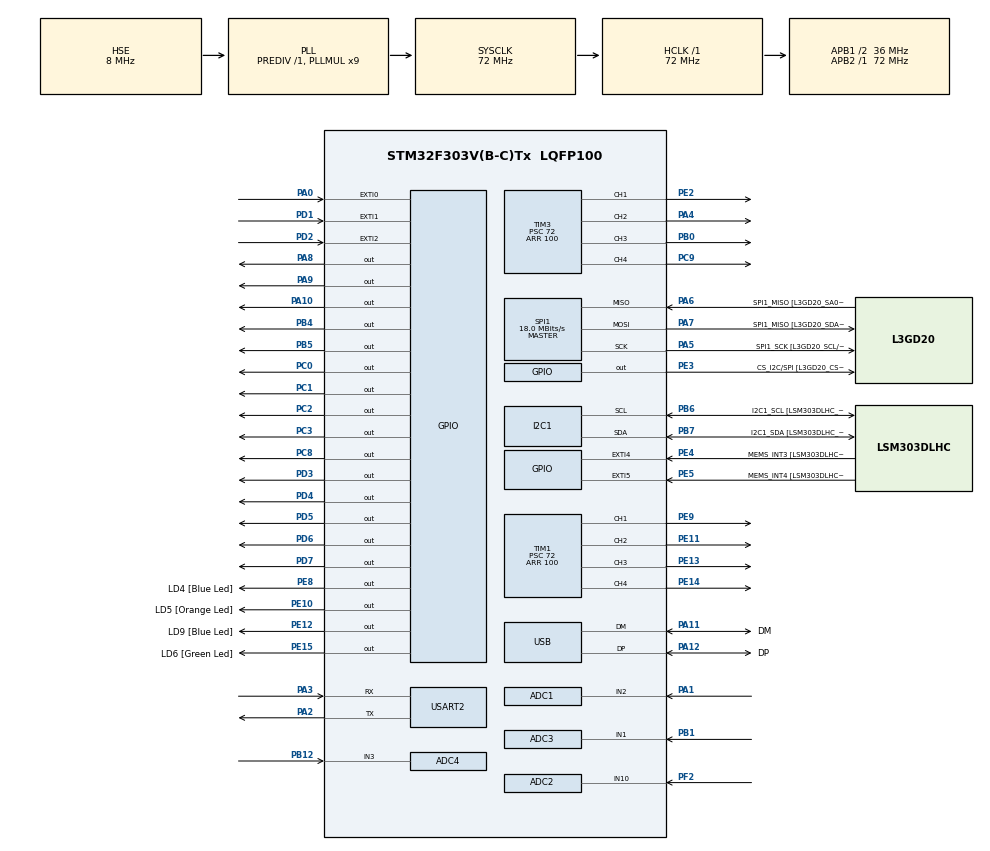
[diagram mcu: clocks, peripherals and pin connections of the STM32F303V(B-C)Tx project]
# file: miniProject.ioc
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ADC1.Channel-12\#ChannelRegularConversion=ADC_CHANNEL_2
ADC1.ClockPrescaler=ADC_CLOCK_ASYNC_DIV1
ADC1.ContinuousConvMode=DISABLE
ADC1.DMAContinuousRequests=DISABLE
ADC1.DataAlign=ADC_DATAALIGN_RIGHT
ADC1.DiscontinuousConvMode=DISABLE
ADC1.EOCSelection=ADC_EOC_SINGLE_CONV
ADC1.EnableAnalogWatchDog1=false
ADC1.EnableAnalogWatchDog2=false
ADC1.EnableAnalogWatchDog3=false
ADC1.EnableInjectedConversion=ENABLE
ADC1.EnableRegularConversion=ENABLE
ADC1.ExternalTrigConv=ADC_SOFTWARE_START
ADC1.ExternalTrigConvEdge=ADC_EXTERNALTRIGCONVEDGE_NONE
ADC1.InjNumberOfConversion=0
ADC1.LowPowerAutoWait=DISABLE
ADC1.NbrOfConversion=1
ADC1.NbrOfConversionFlag=1
ADC1.Offset-12\#ChannelRegularConversion=0
ADC1.OffsetNumber-12\#ChannelRegularConversion=ADC_OFFSET_NONE
ADC1.Overrun=ADC_OVR_DATA_OVERWRITTEN
ADC1.Rank-12\#ChannelRegularConversion=1
ADC1.Resolution=ADC_RESOLUTION_12B
ADC1.SamplingTime-12\#ChannelRegularConversion=ADC_SAMPLETIME_601CYCLES_5
ADC1.ScanConvMode=ADC_SCAN_DISABLE
ADC1.master=1
ADC2.Channel-113\#ChannelRegularConversion=ADC_CHANNEL_10
ADC2.ClockPrescaler=ADC_CLOCK_ASYNC_DIV1
ADC2.ContinuousConvMode=DISABLE
ADC2.DMAContinuousRequests=DISABLE
ADC2.DataAlign=ADC_DATAALIGN_RIGHT
ADC2.DiscontinuousConvMode=DISABLE
ADC2.EOCSelection=ADC_EOC_SINGLE_CONV
ADC2.EnableAnalogWatchDog1=false
ADC2.EnableAnalogWatchDog2=false
ADC2.EnableAnalogWatchDog3=false
ADC2.EnableInjectedConversion=ENABLE
ADC2.EnableRegularConversion=ENABLE
ADC2.ExternalTrigConv=ADC_SOFTWARE_START
ADC2.ExternalTrigConvEdge=ADC_EXTERNALTRIGCONVEDGE_NONE
ADC2.InjNumberOfConversion=0
ADC2.LowPowerAutoWait=DISABLE
ADC2.NbrOfConversion=1
ADC2.NbrOfConversionFlag=1
ADC2.Offset-113\#ChannelRegularConversion=0
ADC2.OffsetNumber-113\#ChannelRegularConversion=ADC_OFFSET_NONE
ADC2.Overrun=ADC_OVR_DATA_OVERWRITTEN
ADC2.Rank-113\#ChannelRegularConversion=1
ADC2.Resolution=ADC_RESOLUTION_12B
ADC2.SamplingTime-113\#ChannelRegularConversion=ADC_SAMPLETIME_601CYCLES_5
ADC2.ScanConvMode=ADC_SCAN_DISABLE
ADC3.Channel-129\#ChannelRegularConversion=ADC_CHANNEL_1
ADC3.ClockPrescaler=ADC_CLOCK_ASYNC_DIV1
ADC3.ContinuousConvMode=DISABLE
ADC3.DMAContinuousRequests=DISABLE
ADC3.DataAlign=ADC_DATAALIGN_RIGHT
ADC3.DiscontinuousConvMode=DISABLE
ADC3.EOCSelection=ADC_EOC_SINGLE_CONV
ADC3.EnableAnalogWatchDog1=false
ADC3.EnableAnalogWatchDog2=false
ADC3.EnableAnalogWatchDog3=false
ADC3.EnableInjectedConversion=ENABLE
ADC3.EnableRegularConversion=ENABLE
ADC3.ExternalTrigConv=ADC_SOFTWARE_START
ADC3.ExternalTrigConvEdge=ADC_EXTERNALTRIGCONVEDGE_NONE
ADC3.InjNumberOfConversion=0
ADC3.LowPowerAutoWait=DISABLE
ADC3.NbrOfConversion=1
ADC3.NbrOfConversionFlag=1
ADC3.Offset-129\#ChannelRegularConversion=0
ADC3.OffsetNumber-129\#ChannelRegularConversion=ADC_OFFSET_NONE
ADC3.Overrun=ADC_OVR_DATA_OVERWRITTEN
ADC3.Rank-129\#ChannelRegularConversion=1
ADC3.Resolution=ADC_RESOLUTION_12B
ADC3.SamplingTime-129\#ChannelRegularConversion=ADC_SAMPLETIME_601CYCLES_5
ADC3.ScanConvMode=ADC_SCAN_DISABLE
ADC3.master=1
ADC4.Channel-0\#ChannelRegularConversion=ADC_CHANNEL_3
ADC4.ClockPrescaler=ADC_CLOCK_ASYNC_DIV1
ADC4.ContinuousConvMode=DISABLE
ADC4.DMAContinuousRequests=DISABLE
ADC4.DataAlign=ADC_DATAALIGN_RIGHT
ADC4.DiscontinuousConvMode=DISABLE
ADC4.EOCSelection=ADC_EOC_SINGLE_CONV
ADC4.EnableAnalogWatchDog1=false
ADC4.EnableAnalogWatchDog2=false
ADC4.EnableAnalogWatchDog3=false
ADC4.EnableInjectedConversion=ENABLE
ADC4.EnableRegularConversion=ENABLE
ADC4.ExternalTrigConv=ADC_SOFTWARE_START
ADC4.ExternalTrigConvEdge=ADC_EXTERNALTRIGCONVEDGE_NONE
ADC4.InjNumberOfConversion=0
ADC4.LowPowerAutoWait=DISABLE
ADC4.NbrOfConversion=1
ADC4.NbrOfConversionFlag=1
ADC4.Offset-0\#ChannelRegularConversion=0
ADC4.OffsetNumber-0\#ChannelRegularConversion=ADC_OFFSET_NONE
ADC4.Overrun=ADC_OVR_DATA_OVERWRITTEN
ADC4.Rank-0\#ChannelRegularConversion=1
ADC4.Resolution=ADC_RESOLUTION_12B
ADC4.SamplingTime-0\#ChannelRegularConversion=ADC_SAMPLETIME_601CYCLES_5
ADC4.ScanConvMode=ADC_SCAN_DISABLE
I2C1.Timing-I2C=0x2000090E
Mcu.Family=STM32F3
Mcu.Name=STM32F303V(B-C)Tx
Mcu.Package=LQFP100
NVIC.ADC1_2_IRQn=true\:2\:0\:true\:false\:true\:true
NVIC.ADC3_IRQn=true\:2\:0\:true\:false\:true\:true
NVIC.ADC4_IRQn=true\:2\:0\:true\:false\:true\:true
NVIC.EXTI0_IRQn=true\:1\:0\:true\:false\:true\:true
NVIC.EXTI1_IRQn=true\:1\:0\:true\:false\:true\:true
NVIC.EXTI2_TSC_IRQn=true\:1\:0\:true\:false\:true\:true
NVIC.PriorityGroup=NVIC_PRIORITYGROUP_2
NVIC.TIM2_IRQn=true\:1\:0\:true\:false\:true\:true
NVIC.TIM4_IRQn=true\:1\:0\:true\:false\:true\:true
NVIC.USART2_IRQn=true\:1\:0\:true\:false\:true\:true
PA0.GPIO_PuPd=GPIO_PULLDOWN
PA0.Signal=GPXTI0
PA1.Mode=IN2-Single-Ended
PA1.Signal=ADC1_IN2
PA10.Signal=GPIO_Output
PA11.GPIO_Label=DM
PA11.Mode=Device
PA11.Signal=USB_DM
PA12.GPIO_Label=DP
PA12.Mode=Device
PA12.Signal=USB_DP
PA13.GPIO_Label=SWDIO
PA13.Mode=Serial_Wire
PA13.Signal=SYS_JTMS-SWDIO
PA14.GPIO_Label=SWCLK
PA14.Mode=Serial_Wire
PA14.Signal=SYS_JTCK-SWCLK
PA2.Mode=Asynchronous
PA2.Signal=USART2_TX
PA3.Mode=Asynchronous
PA3.Signal=USART2_RX
PA4.Signal=S_TIM3_CH2
PA5.GPIO_Label=SPI1_SCK [L3GD20_SCL/SPC]
PA5.Mode=Full_Duplex_Master
PA5.Signal=SPI1_SCK
PA6.GPIO_Label=SPI1_MISO [L3GD20_SA0/SDO]
PA6.Mode=Full_Duplex_Master
PA6.Signal=SPI1_MISO
PA7.GPIO_Label=SPI1_MISO [L3GD20_SDA/SDI/SDO]
PA7.Mode=Full_Duplex_Master
PA7.Signal=SPI1_MOSI
PA8.Signal=GPIO_Output
PA9.Signal=GPIO_Output
PB0.Signal=S_TIM3_CH3
PB1.Mode=IN1-Single-Ended
PB1.Signal=ADC3_IN1
PB12.Mode=IN3-Single-Ended
PB12.Signal=ADC4_IN3
PB3.GPIO_Label=SWO
PB3.Signal=SYS_JTDO-TRACESWO
PB4.Signal=GPIO_Output
PB5.Signal=GPIO_Output
PB6.GPIO_Label=I2C1_SCL [LSM303DLHC_SCL]
PB6.Mode=I2C
PB6.Signal=I2C1_SCL
PB7.GPIO_Label=I2C1_SDA [LSM303DLHC_SDA]
PB7.Mode=I2C
PB7.Signal=I2C1_SDA
PC0.Signal=GPIO_Output
PC1.Signal=GPIO_Output
PC14-OSC32_IN.GPIO_Label=OSC32_IN
PC14-OSC32_IN.Signal=RCC_OSC32_IN
PC15-OSC32_OUT.GPIO_Label=OSC32_OUT
PC15-OSC32_OUT.Signal=RCC_OSC32_OUT
PC2.Signal=GPIO_Output
PC3.Signal=GPIO_Output
PC8.Signal=GPIO_Output
PC9.Signal=S_TIM3_CH4
PD1.GPIO_PuPd=GPIO_PULLDOWN
PD1.Signal=GPXTI1
PD2.GPIO_PuPd=GPIO_PULLDOWN
PD2.Signal=GPXTI2
PD3.Signal=GPIO_Output
PD4.Signal=GPIO_Output
PD5.Signal=GPIO_Output
PD6.Signal=GPIO_Output
PD7.Signal=GPIO_Output
PE10.GPIO_Label=LD5 [Orange Led]
PE10.Signal=GPIO_Output
PE11.Signal=S_TIM1_CH2
PE12.GPIO_Label=LD9 [Blue Led]
PE12.Signal=GPIO_Output
PE13.Signal=S_TIM1_CH3
PE14.Signal=S_TIM1_CH4
PE15.GPIO_Label=LD6 [Green Led]
PE15.Signal=GPIO_Output
PE2.Signal=S_TIM3_CH1
PE3.GPIO_Label=CS_I2C/SPI [L3GD20_CS_I2C/SPI]
PE3.Signal=GPIO_Output
PE4.GPIO_Label=MEMS_INT3 [LSM303DLHC_INT1]
PE4.GPIO_ModeDefaultEXTI=GPIO_MODE_EVT_RISING
PE4.Signal=GPXTI4
PE5.GPIO_Label=MEMS_INT4 [LSM303DLHC_INT2]
PE5.GPIO_ModeDefaultEXTI=GPIO_MODE_EVT_RISING
PE5.Signal=GPXTI5
PE8.GPIO_Label=LD4 [Blue Led]
PE8.Signal=GPIO_Output
PE9.Signal=S_TIM1_CH1
PF0-OSC_IN.GPIO_Label=OSC_IN
PF0-OSC_IN.Mode=HSE-External-Clock-Source
PF0-OSC_IN.Signal=RCC_OSC_IN
PF1-OSC_OUT.GPIO_Label=OSC_OUT
PF1-OSC_OUT.Signal=RCC_OSC_OUT
PF2.Signal=ADCx_IN10
ProjectManager.HeapSize=0x200
ProjectManager.StackSize=0x400
ProjectManager.TargetToolchain=MDK-ARM V5
RCC.AHBFreq_Value=72000000
RCC.APB1CLKDivider=RCC_HCLK_DIV2
RCC.APB1Freq_Value=36000000
RCC.APB1TimFreq_Value=72000000
RCC.APB2Freq_Value=72000000
RCC.APB2TimFreq_Value=72000000
RCC.CortexFreq_Value=72000000
RCC.HCLKFreq_Value=72000000
RCC.HSE_VALUE=8000000
RCC.HSI_VALUE=8000000
RCC.LSE_VALUE=32768
RCC.PLLMUL=RCC_PLL_MUL9
RCC.PRESCALERUSB=RCC_USBCLKSOURCE_PLL_DIV1_5
RCC.SYSCLKFreq_VALUE=72000000
RCC.SYSCLKSourceVirtual=RCC_SYSCLKSOURCE_PLLCLK
RCC.USBFreq_Value=48000000
SH.ADCx_IN10.0=ADC2_IN10,IN10-Single-Ended
SH.S_TIM1_CH1.0=TIM1_CH1,PWM Generation1 CH1
SH.S_TIM1_CH2.0=TIM1_CH2,PWM Generation2 CH2
SH.S_TIM1_CH3.0=TIM1_CH3,PWM Generation3 CH3
SH.S_TIM1_CH4.0=TIM1_CH4,PWM Generation4 CH4
SH.S_TIM3_CH1.0=TIM3_CH1,PWM Generation1 CH1
SH.S_TIM3_CH2.0=TIM3_CH2,PWM Generation2 CH2
SH.S_TIM3_CH3.0=TIM3_CH3,PWM Generation3 CH3
SH.S_TIM3_CH4.0=TIM3_CH4,PWM Generation4 CH4
SPI1.BaudRatePrescaler=SPI_BAUDRATEPRESCALER_4
SPI1.BaudRatePrescaler-Full_Duplex_Master=SPI_BAUDRATEPRESCALER_2
SPI1.CalculateBaudRate=18.0 MBits/s
SPI1.CalculateBaudRate-Full_Duplex_Master=24.0 MBits/s
SPI1.Direction=SPI_DIRECTION_2LINES
SPI1.Mode=SPI_MODE_MASTER
SPI1.Mode-Full_Duplex_Master=SPI_MODE_MASTER
SPI1.VirtualType=VM_MASTER
TIM1.Channel-PWM\ Generation1\ CH1=TIM_CHANNEL_1
TIM1.Channel-PWM\ Generation2\ CH2=TIM_CHANNEL_2
TIM1.Channel-PWM\ Generation3\ CH3=TIM_CHANNEL_3
TIM1.Channel-PWM\ Generation4\ CH4=TIM_CHANNEL_4
TIM1.Period=100
TIM1.Prescaler=72
TIM2.Period=999
TIM2.Prescaler=3999
TIM3.Channel-PWM\ Generation1\ CH1=TIM_CHANNEL_1
TIM3.Channel-PWM\ Generation2\ CH2=TIM_CHANNEL_2
TIM3.Channel-PWM\ Generation3\ CH3=TIM_CHANNEL_3
TIM3.Channel-PWM\ Generation4\ CH4=TIM_CHANNEL_4
TIM3.Period=100
TIM3.Prescaler=72
TIM4.Period=100
TIM4.Prescaler=72
USART2.VirtualMode-Asynchronous=VM_ASYNC
VP_TIM1_VS_ClockSourceINT.Mode=Internal
VP_TIM2_VS_ClockSourceINT.Mode=Internal
VP_TIM3_VS_ClockSourceINT.Mode=Internal
VP_TIM4_VS_ClockSourceINT.Mode=Internal
board=STM32F3DISCOVERY

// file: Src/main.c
/**
  ******************************************************************************
  * @file           : main.c
  * @brief          : Main program body
  ******************************************************************************
  ** This notice applies to any and all portions of this file
  * that are not between comment pairs USER CODE BEGIN and
  * USER CODE END. Other portions of this file, whether
  * inserted by the user or by software development tools
  * are owned by their respective copyright owners.
  *
  * COPYRIGHT(c) 2019 STMicroelectronics
  *
  * Redistribution and use in source and binary forms, with or without modification,
  * are permitted provided that the following conditions are met:
  *   1. Redistributions of source code must retain the above copyright notice,
  *      this list of conditions and the following disclaimer.
  *   2. Redistributions in binary form must reproduce the above copyright notice,
  *      this list of conditions and the following disclaimer in the documentation
  *      and/or other materials provided with the distribution.
  *   3. Neither the name of STMicroelectronics nor the names of its contributors
  *      may be used to endorse or promote products derived from this software
  *      without specific prior written permission.
  *
  * THIS SOFTWARE IS PROVIDED BY THE COPYRIGHT HOLDERS AND CONTRIBUTORS "AS IS"
  * AND ANY EXPRESS OR IMPLIED WARRANTIES, INCLUDING, BUT NOT LIMITED TO, THE
  * IMPLIED WARRANTIES OF MERCHANTABILITY AND FITNESS FOR A PARTICULAR PURPOSE ARE
  * DISCLAIMED. IN NO EVENT SHALL THE COPYRIGHT HOLDER OR CONTRIBUTORS BE LIABLE
  * FOR ANY DIRECT, INDIRECT, INCIDENTAL, SPECIAL, EXEMPLARY, OR CONSEQUENTIAL
  * DAMAGES (INCLUDING, BUT NOT LIMITED TO, PROCUREMENT OF SUBSTITUTE GOODS OR
  * SERVICES; LOSS OF USE, DATA, OR PROFITS; OR BUSINESS INTERRUPTION) HOWEVER
  * CAUSED AND ON ANY THEORY OF LIABILITY, WHETHER IN CONTRACT, STRICT LIABILITY,
  * OR TORT (INCLUDING NEGLIGENCE OR OTHERWISE) ARISING IN ANY WAY OUT OF THE USE
  * OF THIS SOFTWARE, EVEN IF ADVISED OF THE POSSIBILITY OF SUCH DAMAGE.
  *
  ******************************************************************************
  */
#include "main.h"
#include "stm32f3xx_hal.h"

/* USER CODE BEGIN Includes */
#include <LiquidCrystal.h>
#include <stdbool.h>

/* USER CODE END Includes */

ADC_HandleTypeDef hadc1;
ADC_HandleTypeDef hadc2;
ADC_HandleTypeDef hadc3;
ADC_HandleTypeDef hadc4;

I2C_HandleTypeDef hi2c1;

SPI_HandleTypeDef hspi1;

TIM_HandleTypeDef htim1;
TIM_HandleTypeDef htim2;
TIM_HandleTypeDef htim3;
TIM_HandleTypeDef htim4;

UART_HandleTypeDef huart2;

PCD_HandleTypeDef hpcd_USB_FS;

/* USER CODE BEGIN PV */
/* Private variables ---------------------------------------------------------*/
/* Variables ------------------------------------------------------------------*/

const int TEMPERATURE_LIGTH_SCREEN = 0, MAIN_MENU = 1, MODE_MENU = 2, LED_MENU = 3;
bool start = false;

unsigned char buffer[1000];
unsigned char key;
unsigned char data;

int temperature = 0 , light = 0;
int counter = 0;
int row = 0;
int screen = TEMPERATURE_LIGTH_SCREEN;
int currentMenu = 1;
int menuCount = 1;
int saftyMode = 0; // 1: fire 0: safe
int volume = 0;
int PIR = 0;
int mode; // 0 ldr   1 volume
int volumeValue = 0;
int ligthValue = 0;
int firstTempture = 0;
int autoSelected = 0;

typedef unsigned char byte;
uint16_t pins[8] = {GPIO_PIN_8, GPIO_PIN_9, GPIO_PIN_10, GPIO_PIN_11, GPIO_PIN_12, GPIO_PIN_13, GPIO_PIN_14,GPIO_PIN_15};
byte noon[] = {
			0x00,
			0x00,
			0x04,
			0x01,
			0x01,
			0x1F,
			0x00,
			0x00
	};

byte va[] ={
			0x00,
			0x00,
			0x00,
			0x03,
			0x03,
			0x01,
			0x07,
			0x00
	};

byte re[] ={
		  0x00,
			0x00,
			0x00,
			0x01,
			0x01,
			0x01,
			0x07,
			0x00
	};

byte colon[]= {
			0x00,
			0x00,
			0x00,
			0x02,
			0x00,
			0x02,
			0x00,
			0x00
	};
byte dal[] = {
		0x00,
		0x00,
		0x04,
		0x02,
		0x01,
		0x02,
		0x04,
		0x00
};

byte mim[] = {
		0x00,
		0x00,
		0x00,
		0x1F,
		0x03,
		0x00,
		0x00,
		0x00
};
byte alef[] = {
		0x01,
		0x01,
		0x01,
		0x01,
		0x00,
		0x00,
		0x00,
		0x00
};

/* END Variables------------------------------------------*/

/* USER CODE END PV */

void SystemClock_Config(void);
static void MX_GPIO_Init(void);
static void MX_I2C1_Init(void);
static void MX_SPI1_Init(void);
static void MX_USB_PCD_Init(void);
static void MX_TIM2_Init(void);
static void MX_ADC3_Init(void);
static void MX_USART2_UART_Init(void);
static void MX_ADC1_Init(void);
static void MX_ADC2_Init(void);
static void MX_ADC4_Init(void);
static void MX_TIM1_Init(void);
static void MX_TIM3_Init(void);
static void MX_TIM4_Init(void);

void HAL_TIM_MspPostInit(TIM_HandleTypeDef *htim);

/* USER CODE BEGIN PFP */
/* Private function prototypes -----------------------------------------------*/
/* USER CODE END PFP */

/* USER CODE BEGIN 0 */

/* show tempture and light */

void clearScreen(){

	for(int i = 0; i < 4; i++){
		setCursor(0,i);
		for(int j=0;j<20;j++){
			print(" ");
		}
	}
}

void Temertaure(){
	createChar(0, dal);
	createChar(1, mim);
	createChar(2, alef);
	createChar(3, colon);

	setCursor(13, 1);
	write(0);

	setCursor(12, 1);
	write(1);

	setCursor(11, 1);
	write(2);

	setCursor(10, 1);
	write(3);

	setCursor(8, 1);
	print("\337C");

}
void Light() {

	createChar(4, noon);
	createChar(5, va);
	createChar(6, re);
	createChar(7, colon);

	setCursor(13, 2);
	write(4); // noon

	setCursor(12, 2);
	write(5);

	setCursor(11, 2);
	write(6);

	setCursor(10, 2);
	write(7);

	setCursor(9, 2);
	print("%");
}
void showValueLight(){

	int value = ((int)light * 100 / 4095);
	//char buffer[10];

	sprintf(buffer,"%d ", volume);
	//HAL_UART_Transmit(&huart2, buffer, sizeof(unsigned char) * 8, 1000);

	setCursor(3, 2);
	print(buffer);

}

void showValueTempture(){

	int value = ((int)temperature / 10 );
	char buffer[10];
	sprintf(buffer,"%d", volume);
	setCursor(0,0);
	print(buffer);

	HAL_UART_Transmit(&huart2, buffer, sizeof(unsigned char) * 8, 1000);
}

void setupMenu(){
			row = 0;

			setCursor(0, 0);
			print("#");
			setCursor(2, 0);
			print("1.MODE");

			setCursor(2, 1);
			print("2.ON/OFF/AUTO");
}

void setupMode(){

		row = 0;
		setCursor(0, 0);
		print("#");

		setCursor(2, 0);
		print("1.LDR");

		setCursor(2, 1);
		print("2.VOLUME");
}

void setupOnOff(){

		row = 0;

		setCursor(0, 0);
			print("#");

		setCursor(2, 0);
		print("1.ON");

		setCursor(2, 1);
		print("2.OFF");

		setCursor(2, 2);
		print("3.AUTO");
}

void manageMenu(uint16_t pin, const int MAX_PIN){

		if(GPIO_PIN_1 == pin){
			if(HAL_GPIO_ReadPin(GPIOD, GPIO_PIN_1)){
						sprintf(buffer, "DOWN \n");
						HAL_UART_Transmit(&huart2, buffer, sizeof(buffer), 1000);
					setCursor(0, row);
					print(" ");

					row++;

					if(row >= MAX_PIN){
						row = MAX_PIN - 1;
					}

					setCursor(0, row);
					print("#");

				}
			}

		if(GPIO_PIN_2 == pin){
			 if(HAL_GPIO_ReadPin(GPIOD, GPIO_PIN_2)){
					sprintf(buffer, "UP \n");
					HAL_UART_Transmit(&huart2, buffer, sizeof(buffer), 1000);
					setCursor(0, row);
					print(" ");

					row--;

				 if(row < 0){
					 row = 0;
				 }

				setCursor(0, row);
				print("#");
		}
	}
}

void HAL_ADC_ConvCpltCallback(ADC_HandleTypeDef* hadc){

}

void HAL_GPIO_EXTI_Callback(uint16_t GPIO_Pin){

	switch(screen){

		case TEMPERATURE_LIGTH_SCREEN:

			if(GPIO_Pin == GPIO_PIN_0){
				if(HAL_GPIO_ReadPin(GPIOA, GPIO_PIN_0) == 1){

						sprintf(buffer, "change screen to mainMenu \n");
						HAL_UART_Transmit(&huart2, buffer, sizeof(buffer), 1000);
						clearScreen();
						screen = MAIN_MENU;
						setupMenu();
				}
			}
			break;

		case MAIN_MENU:

				manageMenu(GPIO_Pin, 2);
				if(HAL_GPIO_ReadPin(GPIOA, GPIO_PIN_0) == 1){
					if(row == 0){
						sprintf(buffer, "change screen to Mode \n");
						HAL_UART_Transmit(&huart2, buffer, sizeof(buffer), 1000);

						clearScreen();
						screen = MODE_MENU;
						setupMode();
					}
					else if(row == 1){
						sprintf(buffer, "change screen ON/OFF/AUTO\n");
						HAL_UART_Transmit(&huart2, buffer, sizeof(buffer), 1000);
						clearScreen();
						screen = LED_MENU;
						setupOnOff();
					}
				}
			break;

		case MODE_MENU:
			manageMenu(GPIO_Pin, 2);

				if(row == 0){
						if(HAL_GPIO_ReadPin(GPIOA, GPIO_PIN_0) == 1){
							sprintf(buffer, "Mode is changed to LDR and back to main menu\n");
							HAL_UART_Transmit(&huart2, buffer, sizeof(buffer), 1000);
							mode = 0;
							clearScreen();
							screen = MAIN_MENU;
							//screen = TEMPERATURE_LIGTH_SCREEN;
							setupMenu();
				}
			}
				else if(row == 1){
					if(HAL_GPIO_ReadPin(GPIOA, GPIO_PIN_0) == 1){
							sprintf(buffer, "Mode is changed to VOLUME and back to main menu\n");
							HAL_UART_Transmit(&huart2, buffer, sizeof(buffer), 1000);
							HAL_GPIO_WritePin(GPIOE, GPIO_PIN_11, 1);
							mode = 1;
							clearScreen();
							screen = MAIN_MENU;
							setupMenu();
					}
			}
			break;

		case LED_MENU:
			manageMenu(GPIO_Pin, 3);
				if(row == 0){
						if(HAL_GPIO_ReadPin(GPIOA, GPIO_PIN_0)){
							sprintf(buffer, "set to ON and initPwm\n");
							HAL_UART_Transmit(&huart2, buffer, sizeof(buffer), 1000);
						// init pwm
							//Timer 1
							HAL_TIM_PWM_Start(&htim1, TIM_CHANNEL_1);
							HAL_TIM_PWM_Start(&htim1, TIM_CHANNEL_2);
							HAL_TIM_PWM_Start(&htim1, TIM_CHANNEL_3);
							HAL_TIM_PWM_Start(&htim1, TIM_CHANNEL_4);

							//Timer 3
							HAL_TIM_PWM_Start(&htim3, TIM_CHANNEL_1);
							HAL_TIM_PWM_Start(&htim3, TIM_CHANNEL_2);
							HAL_TIM_PWM_Start(&htim3, TIM_CHANNEL_3);
							HAL_TIM_PWM_Start(&htim3, TIM_CHANNEL_4);
							screen = MAIN_MENU;
							clearScreen();
							setupMenu();
						}
					}
				else if(row == 1){
					if(HAL_GPIO_ReadPin(GPIOA, GPIO_PIN_0)){
							sprintf(buffer, "all LED OFF and back to main menu \n");
							HAL_UART_Transmit(&huart2, buffer, sizeof(buffer), 1000);
							mode = 2;
							screen = MAIN_MENU;
							clearScreen();
							setupMenu();
					}
				}
				else if(row == 2){
					if(HAL_GPIO_ReadPin(GPIOA, GPIO_PIN_0)){
						sprintf(buffer, "sensor PIR is set and back to main menu\n");
						HAL_UART_Transmit(&huart2, buffer, sizeof(buffer), 1000);
						autoSelected = 1;
					// init pwm
						//Timer 1
						HAL_TIM_PWM_Start(&htim1, TIM_CHANNEL_1);
						HAL_TIM_PWM_Start(&htim1, TIM_CHANNEL_2);
						HAL_TIM_PWM_Start(&htim1, TIM_CHANNEL_3);
						HAL_TIM_PWM_Start(&htim1, TIM_CHANNEL_4);

						//Timer 3
						HAL_TIM_PWM_Start(&htim3, TIM_CHANNEL_1);
						HAL_TIM_PWM_Start(&htim3, TIM_CHANNEL_2);
						HAL_TIM_PWM_Start(&htim3, TIM_CHANNEL_3);
						HAL_TIM_PWM_Start(&htim3, TIM_CHANNEL_4);
						screen = MAIN_MENU;
						screen = MAIN_MENU;
						clearScreen();
						setupMenu();
					}
				}
			break;
	}
}

void HAL_UART_RxCpltCallback(UART_HandleTypeDef *huart){

	HAL_UART_Receive_IT(&huart2, &data, sizeof(data));
}

/* USER CODE END 0 */

int main(void)
{

  /* MCU Configuration----------------------------------------------------------*/

  /* Reset of all peripherals, Initializes the Flash interface and the Systick. */
  HAL_Init();

  /* Configure the system clock */
  SystemClock_Config();

  /* Initialize all configured peripherals */
  MX_GPIO_Init();
  MX_I2C1_Init();
  MX_SPI1_Init();
  MX_USB_PCD_Init();
  MX_TIM2_Init();
  MX_ADC3_Init();
  MX_USART2_UART_Init();
  MX_ADC1_Init();
  MX_ADC2_Init();
  MX_ADC4_Init();
  MX_TIM1_Init();
  MX_TIM3_Init();
  MX_TIM4_Init();
  /* USER CODE BEGIN 2 */

	LiquidCrystal(GPIOD, GPIO_PIN_8, GPIO_PIN_9, GPIO_PIN_10, GPIO_PIN_11, GPIO_PIN_12, GPIO_PIN_13, GPIO_PIN_14);
	begin(20, 4);

  /* USER CODE END 2 */

  /* Infinite loop */
  /* USER CODE BEGIN WHILE */

	Temertaure();
	Light();

	HAL_UART_Receive_IT(&huart2, &data, sizeof(data));

	HAL_TIM_Base_Start_IT(&htim4);

	HAL_TIM_Base_Start_IT(&htim2);
	HAL_ADC_Start_IT(&hadc4);
	HAL_ADC_Start_IT(&hadc3);  							//INTERUPT temprature

//	HAL_TIM_Base_Start_IT(&htim2);
	HAL_ADC_Start_IT(&hadc1);
	HAL_ADC_Start_IT(&hadc2);

  while (1)
  {
  /* USER CODE END WHILE */

  }

}

void SystemClock_Config(void)
{

  RCC_OscInitTypeDef RCC_OscInitStruct;
  RCC_ClkInitTypeDef RCC_ClkInitStruct;
  RCC_PeriphCLKInitTypeDef PeriphClkInit;

    /**Initializes the CPU, AHB and APB busses clocks
    */
  RCC_OscInitStruct.OscillatorType = RCC_OSCILLATORTYPE_HSI|RCC_OSCILLATORTYPE_HSE;
  RCC_OscInitStruct.HSEState = RCC_HSE_BYPASS;
  RCC_OscInitStruct.HSEPredivValue = RCC_HSE_PREDIV_DIV1;
  RCC_OscInitStruct.HSIState = RCC_HSI_ON;
  RCC_OscInitStruct.HSICalibrationValue = 16;
  RCC_OscInitStruct.PLL.PLLState = RCC_PLL_ON;
  RCC_OscInitStruct.PLL.PLLSource = RCC_PLLSOURCE_HSE;
  RCC_OscInitStruct.PLL.PLLMUL = RCC_PLL_MUL9;
  if (HAL_RCC_OscConfig(&RCC_OscInitStruct) != HAL_OK)
  {
    _Error_Handler(__FILE__, __LINE__);
  }

    /**Initializes the CPU, AHB and APB busses clocks
    */
  RCC_ClkInitStruct.ClockType = RCC_CLOCKTYPE_HCLK|RCC_CLOCKTYPE_SYSCLK
                              |RCC_CLOCKTYPE_PCLK1|RCC_CLOCKTYPE_PCLK2;
  RCC_ClkInitStruct.SYSCLKSource = RCC_SYSCLKSOURCE_PLLCLK;
  RCC_ClkInitStruct.AHBCLKDivider = RCC_SYSCLK_DIV1;
  RCC_ClkInitStruct.APB1CLKDivider = RCC_HCLK_DIV2;
  RCC_ClkInitStruct.APB2CLKDivider = RCC_HCLK_DIV1;

  if (HAL_RCC_ClockConfig(&RCC_ClkInitStruct, FLASH_LATENCY_2) != HAL_OK)
  {
    _Error_Handler(__FILE__, __LINE__);
  }

  PeriphClkInit.PeriphClockSelection = RCC_PERIPHCLK_USB|RCC_PERIPHCLK_USART2
                              |RCC_PERIPHCLK_I2C1|RCC_PERIPHCLK_TIM1
                              |RCC_PERIPHCLK_ADC12|RCC_PERIPHCLK_ADC34;
  PeriphClkInit.Usart2ClockSelection = RCC_USART2CLKSOURCE_PCLK1;
  PeriphClkInit.Adc12ClockSelection = RCC_ADC12PLLCLK_DIV1;
  PeriphClkInit.Adc34ClockSelection = RCC_ADC34PLLCLK_DIV1;
  PeriphClkInit.I2c1ClockSelection = RCC_I2C1CLKSOURCE_HSI;
  PeriphClkInit.USBClockSelection = RCC_USBCLKSOURCE_PLL_DIV1_5;
  PeriphClkInit.Tim1ClockSelection = RCC_TIM1CLK_HCLK;
  if (HAL_RCCEx_PeriphCLKConfig(&PeriphClkInit) != HAL_OK)
  {
    _Error_Handler(__FILE__, __LINE__);
  }

    /**Configure the Systick interrupt time
    */
  HAL_SYSTICK_Config(HAL_RCC_GetHCLKFreq()/1000);

    /**Configure the Systick
    */
  HAL_SYSTICK_CLKSourceConfig(SYSTICK_CLKSOURCE_HCLK);

  /* SysTick_IRQn interrupt configuration */
  HAL_NVIC_SetPriority(SysTick_IRQn, 0, 0);
}

/* ADC1 init function */
static void MX_ADC1_Init(void)
{

  ADC_MultiModeTypeDef multimode;
  ADC_ChannelConfTypeDef sConfig;

    /**Common config
    */
  hadc1.Instance = ADC1;
  hadc1.Init.ClockPrescaler = ADC_CLOCK_ASYNC_DIV1;
  hadc1.Init.Resolution = ADC_RESOLUTION_12B;
  hadc1.Init.ScanConvMode = ADC_SCAN_DISABLE;
  hadc1.Init.ContinuousConvMode = DISABLE;
  hadc1.Init.DiscontinuousConvMode = DISABLE;
  hadc1.Init.ExternalTrigConvEdge = ADC_EXTERNALTRIGCONVEDGE_NONE;
  hadc1.Init.ExternalTrigConv = ADC_SOFTWARE_START;
  hadc1.Init.DataAlign = ADC_DATAALIGN_RIGHT;
  hadc1.Init.NbrOfConversion = 1;
  hadc1.Init.DMAContinuousRequests = DISABLE;
  hadc1.Init.EOCSelection = ADC_EOC_SINGLE_CONV;
  hadc1.Init.LowPowerAutoWait = DISABLE;
  hadc1.Init.Overrun = ADC_OVR_DATA_OVERWRITTEN;
  if (HAL_ADC_Init(&hadc1) != HAL_OK)
  {
    _Error_Handler(__FILE__, __LINE__);
  }

    /**Configure the ADC multi-mode
    */
  multimode.Mode = ADC_MODE_INDEPENDENT;
  if (HAL_ADCEx_MultiModeConfigChannel(&hadc1, &multimode) != HAL_OK)
  {
    _Error_Handler(__FILE__, __LINE__);
  }

    /**Configure Regular Channel
    */
  sConfig.Channel = ADC_CHANNEL_2;
  sConfig.Rank = ADC_REGULAR_RANK_1;
  sConfig.SingleDiff = ADC_SINGLE_ENDED;
  sConfig.SamplingTime = ADC_SAMPLETIME_601CYCLES_5;
  sConfig.OffsetNumber = ADC_OFFSET_NONE;
  sConfig.Offset = 0;
  if (HAL_ADC_ConfigChannel(&hadc1, &sConfig) != HAL_OK)
  {
    _Error_Handler(__FILE__, __LINE__);
  }

}

/* ADC2 init function */
static void MX_ADC2_Init(void)
{

  ADC_ChannelConfTypeDef sConfig;

    /**Common config
    */
  hadc2.Instance = ADC2;
  hadc2.Init.ClockPrescaler = ADC_CLOCK_ASYNC_DIV1;
  hadc2.Init.Resolution = ADC_RESOLUTION_12B;
  hadc2.Init.ScanConvMode = ADC_SCAN_DISABLE;
  hadc2.Init.ContinuousConvMode = DISABLE;
  hadc2.Init.DiscontinuousConvMode = DISABLE;
  hadc2.Init.ExternalTrigConvEdge = ADC_EXTERNALTRIGCONVEDGE_NONE;
  hadc2.Init.ExternalTrigConv = ADC_SOFTWARE_START;
  hadc2.Init.DataAlign = ADC_DATAALIGN_RIGHT;
  hadc2.Init.NbrOfConversion = 1;
  hadc2.Init.DMAContinuousRequests = DISABLE;
  hadc2.Init.EOCSelection = ADC_EOC_SINGLE_CONV;
  hadc2.Init.LowPowerAutoWait = DISABLE;
  hadc2.Init.Overrun = ADC_OVR_DATA_OVERWRITTEN;
  if (HAL_ADC_Init(&hadc2) != HAL_OK)
  {
    _Error_Handler(__FILE__, __LINE__);
  }

    /**Configure Regular Channel
    */
  sConfig.Channel = ADC_CHANNEL_10;
  sConfig.Rank = ADC_REGULAR_RANK_1;
  sConfig.SingleDiff = ADC_SINGLE_ENDED;
  sConfig.SamplingTime = ADC_SAMPLETIME_601CYCLES_5;
  sConfig.OffsetNumber = ADC_OFFSET_NONE;
  sConfig.Offset = 0;
  if (HAL_ADC_ConfigChannel(&hadc2, &sConfig) != HAL_OK)
  {
    _Error_Handler(__FILE__, __LINE__);
  }

}

/* ADC3 init function */
static void MX_ADC3_Init(void)
{

  ADC_MultiModeTypeDef multimode;
  ADC_ChannelConfTypeDef sConfig;

    /**Common config
    */
  hadc3.Instance = ADC3;
  hadc3.Init.ClockPrescaler = ADC_CLOCK_ASYNC_DIV1;
  hadc3.Init.Resolution = ADC_RESOLUTION_12B;
  hadc3.Init.ScanConvMode = ADC_SCAN_DISABLE;
  hadc3.Init.ContinuousConvMode = DISABLE;
  hadc3.Init.DiscontinuousConvMode = DISABLE;
  hadc3.Init.ExternalTrigConvEdge = ADC_EXTERNALTRIGCONVEDGE_NONE;
  hadc3.Init.ExternalTrigConv = ADC_SOFTWARE_START;
  hadc3.Init.DataAlign = ADC_DATAALIGN_RIGHT;
  hadc3.Init.NbrOfConversion = 1;
  hadc3.Init.DMAContinuousRequests = DISABLE;
  hadc3.Init.EOCSelection = ADC_EOC_SINGLE_CONV;
  hadc3.Init.LowPowerAutoWait = DISABLE;
  hadc3.Init.Overrun = ADC_OVR_DATA_OVERWRITTEN;
  if (HAL_ADC_Init(&hadc3) != HAL_OK)
  {
    _Error_Handler(__FILE__, __LINE__);
  }

    /**Configure the ADC multi-mode
    */
  multimode.Mode = ADC_MODE_INDEPENDENT;
  if (HAL_ADCEx_MultiModeConfigChannel(&hadc3, &multimode) != HAL_OK)
  {
    _Error_Handler(__FILE__, __LINE__);
  }

    /**Configure Regular Channel
    */
  sConfig.Channel = ADC_CHANNEL_1;
  sConfig.Rank = ADC_REGULAR_RANK_1;
  sConfig.SingleDiff = ADC_SINGLE_ENDED;
  sConfig.SamplingTime = ADC_SAMPLETIME_601CYCLES_5;
  sConfig.OffsetNumber = ADC_OFFSET_NONE;
  sConfig.Offset = 0;
  if (HAL_ADC_ConfigChannel(&hadc3, &sConfig) != HAL_OK)
  {
    _Error_Handler(__FILE__, __LINE__);
  }

}

/* ADC4 init function */
static void MX_ADC4_Init(void)
{

  ADC_ChannelConfTypeDef sConfig;

    /**Common config
    */
  hadc4.Instance = ADC4;
  hadc4.Init.ClockPrescaler = ADC_CLOCK_ASYNC_DIV1;
  hadc4.Init.Resolution = ADC_RESOLUTION_12B;
  hadc4.Init.ScanConvMode = ADC_SCAN_DISABLE;
  hadc4.Init.ContinuousConvMode = DISABLE;
  hadc4.Init.DiscontinuousConvMode = DISABLE;
  hadc4.Init.ExternalTrigConvEdge = ADC_EXTERNALTRIGCONVEDGE_NONE;
  hadc4.Init.ExternalTrigConv = ADC_SOFTWARE_START;
  hadc4.Init.DataAlign = ADC_DATAALIGN_RIGHT;
  hadc4.Init.NbrOfConversion = 1;
  hadc4.Init.DMAContinuousRequests = DISABLE;
  hadc4.Init.EOCSelection = ADC_EOC_SINGLE_CONV;
  hadc4.Init.LowPowerAutoWait = DISABLE;
  hadc4.Init.Overrun = ADC_OVR_DATA_OVERWRITTEN;
  if (HAL_ADC_Init(&hadc4) != HAL_OK)
  {
    _Error_Handler(__FILE__, __LINE__);
  }

    /**Configure Regular Channel
    */
  sConfig.Channel = ADC_CHANNEL_3;
  sConfig.Rank = ADC_REGULAR_RANK_1;
  sConfig.SingleDiff = ADC_SINGLE_ENDED;
  sConfig.SamplingTime = ADC_SAMPLETIME_601CYCLES_5;
  sConfig.OffsetNumber = ADC_OFFSET_NONE;
  sConfig.Offset = 0;
  if (HAL_ADC_ConfigChannel(&hadc4, &sConfig) != HAL_OK)
  {
    _Error_Handler(__FILE__, __LINE__);
  }

}

/* I2C1 init function */
static void MX_I2C1_Init(void)
{

  hi2c1.Instance = I2C1;
  hi2c1.Init.Timing = 0x2000090E;
  hi2c1.Init.OwnAddress1 = 0;
  hi2c1.Init.AddressingMode = I2C_ADDRESSINGMODE_7BIT;
  hi2c1.Init.DualAddressMode = I2C_DUALADDRESS_DISABLE;
  hi2c1.Init.OwnAddress2 = 0;
  hi2c1.Init.OwnAddress2Masks = I2C_OA2_NOMASK;
  hi2c1.Init.GeneralCallMode = I2C_GENERALCALL_DISABLE;
  hi2c1.Init.NoStretchMode = I2C_NOSTRETCH_DISABLE;
  if (HAL_I2C_Init(&hi2c1) != HAL_OK)
  {
    _Error_Handler(__FILE__, __LINE__);
  }

    /**Configure Analogue filter
    */
  if (HAL_I2CEx_ConfigAnalogFilter(&hi2c1, I2C_ANALOGFILTER_ENABLE) != HAL_OK)
  {
    _Error_Handler(__FILE__, __LINE__);
  }

    /**Configure Digital filter
    */
  if (HAL_I2CEx_ConfigDigitalFilter(&hi2c1, 0) != HAL_OK)
  {
    _Error_Handler(__FILE__, __LINE__);
  }

}

/* SPI1 init function */
static void MX_SPI1_Init(void)
{

  /* SPI1 parameter configuration*/
  hspi1.Instance = SPI1;
  hspi1.Init.Mode = SPI_MODE_MASTER;
  hspi1.Init.Direction = SPI_DIRECTION_2LINES;
  hspi1.Init.DataSize = SPI_DATASIZE_4BIT;
  hspi1.Init.CLKPolarity = SPI_POLARITY_LOW;
  hspi1.Init.CLKPhase = SPI_PHASE_1EDGE;
  hspi1.Init.NSS = SPI_NSS_SOFT;
  hspi1.Init.BaudRatePrescaler = SPI_BAUDRATEPRESCALER_4;
  hspi1.Init.FirstBit = SPI_FIRSTBIT_MSB;
  hspi1.Init.TIMode = SPI_TIMODE_DISABLE;
  hspi1.Init.CRCCalculation = SPI_CRCCALCULATION_DISABLE;
  hspi1.Init.CRCPolynomial = 7;
  hspi1.Init.CRCLength = SPI_CRC_LENGTH_DATASIZE;
  hspi1.Init.NSSPMode = SPI_NSS_PULSE_ENABLE;
  if (HAL_SPI_Init(&hspi1) != HAL_OK)
  {
    _Error_Handler(__FILE__, __LINE__);
  }

}

/* TIM1 init function */
static void MX_TIM1_Init(void)
{

  TIM_ClockConfigTypeDef sClockSourceConfig;
  TIM_MasterConfigTypeDef sMasterConfig;
  TIM_OC_InitTypeDef sConfigOC;
  TIM_BreakDeadTimeConfigTypeDef sBreakDeadTimeConfig;

  htim1.Instance = TIM1;
  htim1.Init.Prescaler = 72;
  htim1.Init.CounterMode = TIM_COUNTERMODE_UP;
  htim1.Init.Period = 100;
  htim1.Init.ClockDivision = TIM_CLOCKDIVISION_DIV1;
  htim1.Init.RepetitionCounter = 0;
  htim1.Init.AutoReloadPreload = TIM_AUTORELOAD_PRELOAD_DISABLE;
  if (HAL_TIM_Base_Init(&htim1) != HAL_OK)
  {
    _Error_Handler(__FILE__, __LINE__);
  }

  sClockSourceConfig.ClockSource = TIM_CLOCKSOURCE_INTERNAL;
  if (HAL_TIM_ConfigClockSource(&htim1, &sClockSourceConfig) != HAL_OK)
  {
    _Error_Handler(__FILE__, __LINE__);
  }

  if (HAL_TIM_PWM_Init(&htim1) != HAL_OK)
  {
    _Error_Handler(__FILE__, __LINE__);
  }

  sMasterConfig.MasterOutputTrigger = TIM_TRGO_RESET;
  sMasterConfig.MasterOutputTrigger2 = TIM_TRGO2_RESET;
  sMasterConfig.MasterSlaveMode = TIM_MASTERSLAVEMODE_DISABLE;
  if (HAL_TIMEx_MasterConfigSynchronization(&htim1, &sMasterConfig) != HAL_OK)
  {
    _Error_Handler(__FILE__, __LINE__);
  }

  sConfigOC.OCMode = TIM_OCMODE_PWM1;
  sConfigOC.Pulse = 0;
  sConfigOC.OCPolarity = TIM_OCPOLARITY_HIGH;
  sConfigOC.OCNPolarity = TIM_OCNPOLARITY_HIGH;
  sConfigOC.OCFastMode = TIM_OCFAST_DISABLE;
  sConfigOC.OCIdleState = TIM_OCIDLESTATE_RESET;
  sConfigOC.OCNIdleState = TIM_OCNIDLESTATE_RESET;
  if (HAL_TIM_PWM_ConfigChannel(&htim1, &sConfigOC, TIM_CHANNEL_1) != HAL_OK)
  {
    _Error_Handler(__FILE__, __LINE__);
  }

  if (HAL_TIM_PWM_ConfigChannel(&htim1, &sConfigOC, TIM_CHANNEL_2) != HAL_OK)
  {
    _Error_Handler(__FILE__, __LINE__);
  }

  if (HAL_TIM_PWM_ConfigChannel(&htim1, &sConfigOC, TIM_CHANNEL_3) != HAL_OK)
  {
    _Error_Handler(__FILE__, __LINE__);
  }

  if (HAL_TIM_PWM_ConfigChannel(&htim1, &sConfigOC, TIM_CHANNEL_4) != HAL_OK)
  {
    _Error_Handler(__FILE__, __LINE__);
  }

  sBreakDeadTimeConfig.OffStateRunMode = TIM_OSSR_DISABLE;
  sBreakDeadTimeConfig.OffStateIDLEMode = TIM_OSSI_DISABLE;
  sBreakDeadTimeConfig.LockLevel = TIM_LOCKLEVEL_OFF;
  sBreakDeadTimeConfig.DeadTime = 0;
  sBreakDeadTimeConfig.BreakState = TIM_BREAK_DISABLE;
  sBreakDeadTimeConfig.BreakPolarity = TIM_BREAKPOLARITY_HIGH;
  sBreakDeadTimeConfig.BreakFilter = 0;
  sBreakDeadTimeConfig.Break2State = TIM_BREAK2_DISABLE;
  sBreakDeadTimeConfig.Break2Polarity = TIM_BREAK2POLARITY_HIGH;
  sBreakDeadTimeConfig.Break2Filter = 0;
  sBreakDeadTimeConfig.AutomaticOutput = TIM_AUTOMATICOUTPUT_DISABLE;
  if (HAL_TIMEx_ConfigBreakDeadTime(&htim1, &sBreakDeadTimeConfig) != HAL_OK)
  {
    _Error_Handler(__FILE__, __LINE__);
  }

  HAL_TIM_MspPostInit(&htim1);

}

/* TIM2 init function */
static void MX_TIM2_Init(void)
{

  TIM_ClockConfigTypeDef sClockSourceConfig;
  TIM_MasterConfigTypeDef sMasterConfig;

  htim2.Instance = TIM2;
  htim2.Init.Prescaler = 3999;
  htim2.Init.CounterMode = TIM_COUNTERMODE_UP;
  htim2.Init.Period = 999;
  htim2.Init.ClockDivision = TIM_CLOCKDIVISION_DIV1;
  htim2.Init.AutoReloadPreload = TIM_AUTORELOAD_PRELOAD_DISABLE;
  if (HAL_TIM_Base_Init(&htim2) != HAL_OK)
  {
    _Error_Handler(__FILE__, __LINE__);
  }

  sClockSourceConfig.ClockSource = TIM_CLOCKSOURCE_INTERNAL;
  if (HAL_TIM_ConfigClockSource(&htim2, &sClockSourceConfig) != HAL_OK)
  {
    _Error_Handler(__FILE__, __LINE__);
  }

  sMasterConfig.MasterOutputTrigger = TIM_TRGO_RESET;
  sMasterConfig.MasterSlaveMode = TIM_MASTERSLAVEMODE_DISABLE;
  if (HAL_TIMEx_MasterConfigSynchronization(&htim2, &sMasterConfig) != HAL_OK)
  {
    _Error_Handler(__FILE__, __LINE__);
  }

}

/* TIM3 init function */
static void MX_TIM3_Init(void)
{

  TIM_ClockConfigTypeDef sClockSourceConfig;
  TIM_MasterConfigTypeDef sMasterConfig;
  TIM_OC_InitTypeDef sConfigOC;

  htim3.Instance = TIM3;
  htim3.Init.Prescaler = 72;
  htim3.Init.CounterMode = TIM_COUNTERMODE_UP;
  htim3.Init.Period = 100;
  htim3.Init.ClockDivision = TIM_CLOCKDIVISION_DIV1;
  htim3.Init.AutoReloadPreload = TIM_AUTORELOAD_PRELOAD_DISABLE;
  if (HAL_TIM_Base_Init(&htim3) != HAL_OK)
  {
    _Error_Handler(__FILE__, __LINE__);
  }

  sClockSourceConfig.ClockSource = TIM_CLOCKSOURCE_INTERNAL;
  if (HAL_TIM_ConfigClockSource(&htim3, &sClockSourceConfig) != HAL_OK)
  {
    _Error_Handler(__FILE__, __LINE__);
  }

  if (HAL_TIM_PWM_Init(&htim3) != HAL_OK)
  {
    _Error_Handler(__FILE__, __LINE__);
  }

  sMasterConfig.MasterOutputTrigger = TIM_TRGO_RESET;
  sMasterConfig.MasterSlaveMode = TIM_MASTERSLAVEMODE_DISABLE;
  if (HAL_TIMEx_MasterConfigSynchronization(&htim3, &sMasterConfig) != HAL_OK)
  {
    _Error_Handler(__FILE__, __LINE__);
  }

  sConfigOC.OCMode = TIM_OCMODE_PWM1;
  sConfigOC.Pulse = 0;
  sConfigOC.OCPolarity = TIM_OCPOLARITY_HIGH;
  sConfigOC.OCFastMode = TIM_OCFAST_DISABLE;
  if (HAL_TIM_PWM_ConfigChannel(&htim3, &sConfigOC, TIM_CHANNEL_1) != HAL_OK)
  {
    _Error_Handler(__FILE__, __LINE__);
  }

  if (HAL_TIM_PWM_ConfigChannel(&htim3, &sConfigOC, TIM_CHANNEL_2) != HAL_OK)
  {
    _Error_Handler(__FILE__, __LINE__);
  }

  if (HAL_TIM_PWM_ConfigChannel(&htim3, &sConfigOC, TIM_CHANNEL_3) != HAL_OK)
  {
    _Error_Handler(__FILE__, __LINE__);
  }

  if (HAL_TIM_PWM_ConfigChannel(&htim3, &sConfigOC, TIM_CHANNEL_4) != HAL_OK)
  {
    _Error_Handler(__FILE__, __LINE__);
  }

  HAL_TIM_MspPostInit(&htim3);

}

/* TIM4 init function */
static void MX_TIM4_Init(void)
{

  TIM_ClockConfigTypeDef sClockSourceConfig;
  TIM_MasterConfigTypeDef sMasterConfig;

  htim4.Instance = TIM4;
  htim4.Init.Prescaler = 72;
  htim4.Init.CounterMode = TIM_COUNTERMODE_UP;
  htim4.Init.Period = 100;
  htim4.Init.ClockDivision = TIM_CLOCKDIVISION_DIV1;
  htim4.Init.AutoReloadPreload = TIM_AUTORELOAD_PRELOAD_DISABLE;
  if (HAL_TIM_Base_Init(&htim4) != HAL_OK)
  {
    _Error_Handler(__FILE__, __LINE__);
  }

  sClockSourceConfig.ClockSource = TIM_CLOCKSOURCE_INTERNAL;
  if (HAL_TIM_ConfigClockSource(&htim4, &sClockSourceConfig) != HAL_OK)
  {
    _Error_Handler(__FILE__, __LINE__);
  }

  sMasterConfig.MasterOutputTrigger = TIM_TRGO_RESET;
  sMasterConfig.MasterSlaveMode = TIM_MASTERSLAVEMODE_DISABLE;
  if (HAL_TIMEx_MasterConfigSynchronization(&htim4, &sMasterConfig) != HAL_OK)
  {
    _Error_Handler(__FILE__, __LINE__);
  }

}

/* USART2 init function */
static void MX_USART2_UART_Init(void)
{

  huart2.Instance = USART2;
  huart2.Init.BaudRate = 38400;
  huart2.Init.WordLength = UART_WORDLENGTH_8B;
  huart2.Init.StopBits = UART_STOPBITS_1;
  huart2.Init.Parity = UART_PARITY_NONE;
  huart2.Init.Mode = UART_MODE_TX_RX;
  huart2.Init.HwFlowCtl = UART_HWCONTROL_NONE;
  huart2.Init.OverSampling = UART_OVERSAMPLING_16;
  huart2.Init.OneBitSampling = UART_ONE_BIT_SAMPLE_DISABLE;
  huart2.AdvancedInit.AdvFeatureInit = UART_ADVFEATURE_NO_INIT;
  if (HAL_UART_Init(&huart2) != HAL_OK)
  {
    _Error_Handler(__FILE__, __LINE__);
  }

}

/* USB init function */
static void MX_USB_PCD_Init(void)
{

  hpcd_USB_FS.Instance = USB;
  hpcd_USB_FS.Init.dev_endpoints = 8;
  hpcd_USB_FS.Init.speed = PCD_SPEED_FULL;
  hpcd_USB_FS.Init.ep0_mps = DEP0CTL_MPS_64;
  hpcd_USB_FS.Init.phy_itface = PCD_PHY_EMBEDDED;
  hpcd_USB_FS.Init.low_power_enable = DISABLE;
  hpcd_USB_FS.Init.battery_charging_enable = DISABLE;
  if (HAL_PCD_Init(&hpcd_USB_FS) != HAL_OK)
  {
    _Error_Handler(__FILE__, __LINE__);
  }

}

/** Configure pins as
        * Analog
        * Input
        * Output
        * EVENT_OUT
        * EXTI
        * Free pins are configured automatically as Analog (this feature is enabled through
        * the Code Generation settings)
*/
static void MX_GPIO_Init(void)
{

  GPIO_InitTypeDef GPIO_InitStruct;

  /* GPIO Ports Clock Enable */
  __HAL_RCC_GPIOE_CLK_ENABLE();
  __HAL_RCC_GPIOC_CLK_ENABLE();
  __HAL_RCC_GPIOF_CLK_ENABLE();
  __HAL_RCC_GPIOA_CLK_ENABLE();
  __HAL_RCC_GPIOB_CLK_ENABLE();
  __HAL_RCC_GPIOD_CLK_ENABLE();

  /*Configure GPIO pin Output Level */
  HAL_GPIO_WritePin(GPIOE, CS_I2C_SPI_Pin|LD4_Pin|LD5_Pin|LD9_Pin
                          |LD6_Pin, GPIO_PIN_RESET);

  /*Configure GPIO pin Output Level */
  HAL_GPIO_WritePin(GPIOC, GPIO_PIN_0|GPIO_PIN_1|GPIO_PIN_2|GPIO_PIN_3
                          |GPIO_PIN_8, GPIO_PIN_RESET);

  /*Configure GPIO pin Output Level */
  HAL_GPIO_WritePin(GPIOA, GPIO_PIN_8|GPIO_PIN_9|GPIO_PIN_10, GPIO_PIN_RESET);

  /*Configure GPIO pin Output Level */
  HAL_GPIO_WritePin(GPIOD, GPIO_PIN_3|GPIO_PIN_4|GPIO_PIN_5|GPIO_PIN_6
                          |GPIO_PIN_7, GPIO_PIN_RESET);

  /*Configure GPIO pin Output Level */
  HAL_GPIO_WritePin(GPIOB, GPIO_PIN_4|GPIO_PIN_5, GPIO_PIN_RESET);

  /*Configure GPIO pins : CS_I2C_SPI_Pin LD4_Pin LD5_Pin LD9_Pin
                           LD6_Pin */
  GPIO_InitStruct.Pin = CS_I2C_SPI_Pin|LD4_Pin|LD5_Pin|LD9_Pin
                          |LD6_Pin;
  GPIO_InitStruct.Mode = GPIO_MODE_OUTPUT_PP;
  GPIO_InitStruct.Pull = GPIO_NOPULL;
  GPIO_InitStruct.Speed = GPIO_SPEED_FREQ_LOW;
  HAL_GPIO_Init(GPIOE, &GPIO_InitStruct);

  /*Configure GPIO pins : MEMS_INT3_Pin MEMS_INT4_Pin */
  GPIO_InitStruct.Pin = MEMS_INT3_Pin|MEMS_INT4_Pin;
  GPIO_InitStruct.Mode = GPIO_MODE_EVT_RISING;
  GPIO_InitStruct.Pull = GPIO_NOPULL;
  HAL_GPIO_Init(GPIOE, &GPIO_InitStruct);

  /*Configure GPIO pins : PE6 PE7 PE0 PE1 */
  GPIO_InitStruct.Pin = GPIO_PIN_6|GPIO_PIN_7|GPIO_PIN_0|GPIO_PIN_1;
  GPIO_InitStruct.Mode = GPIO_MODE_ANALOG;
  GPIO_InitStruct.Pull = GPIO_NOPULL;
  HAL_GPIO_Init(GPIOE, &GPIO_InitStruct);

  /*Configure GPIO pins : PC13 PC4 PC5 PC6
                           PC7 PC10 PC11 PC12 */
  GPIO_InitStruct.Pin = GPIO_PIN_13|GPIO_PIN_4|GPIO_PIN_5|GPIO_PIN_6
                          |GPIO_PIN_7|GPIO_PIN_10|GPIO_PIN_11|GPIO_PIN_12;
  GPIO_InitStruct.Mode = GPIO_MODE_ANALOG;
  GPIO_InitStruct.Pull = GPIO_NOPULL;
  HAL_GPIO_Init(GPIOC, &GPIO_InitStruct);

  /*Configure GPIO pins : PF9 PF10 PF4 PF6 */
  GPIO_InitStruct.Pin = GPIO_PIN_9|GPIO_PIN_10|GPIO_PIN_4|GPIO_PIN_6;
  GPIO_InitStruct.Mode = GPIO_MODE_ANALOG;
  GPIO_InitStruct.Pull = GPIO_NOPULL;
  HAL_GPIO_Init(GPIOF, &GPIO_InitStruct);

  /*Configure GPIO pins : PC0 PC1 PC2 PC3
                           PC8 */
  GPIO_InitStruct.Pin = GPIO_PIN_0|GPIO_PIN_1|GPIO_PIN_2|GPIO_PIN_3
                          |GPIO_PIN_8;
  GPIO_InitStruct.Mode = GPIO_MODE_OUTPUT_PP;
  GPIO_InitStruct.Pull = GPIO_NOPULL;
  GPIO_InitStruct.Speed = GPIO_SPEED_FREQ_LOW;
  HAL_GPIO_Init(GPIOC, &GPIO_InitStruct);

  /*Configure GPIO pin : PA0 */
  GPIO_InitStruct.Pin = GPIO_PIN_0;
  GPIO_InitStruct.Mode = GPIO_MODE_IT_RISING;
  GPIO_InitStruct.Pull = GPIO_PULLDOWN;
  HAL_GPIO_Init(GPIOA, &GPIO_InitStruct);

  /*Configure GPIO pins : PB2 PB10 PB11 PB13
                           PB14 PB15 PB8 PB9 */
  GPIO_InitStruct.Pin = GPIO_PIN_2|GPIO_PIN_10|GPIO_PIN_11|GPIO_PIN_13
                          |GPIO_PIN_14|GPIO_PIN_15|GPIO_PIN_8|GPIO_PIN_9;
  GPIO_InitStruct.Mode = GPIO_MODE_ANALOG;
  GPIO_InitStruct.Pull = GPIO_NOPULL;
  HAL_GPIO_Init(GPIOB, &GPIO_InitStruct);

  /*Configure GPIO pins : PD8 PD9 PD10 PD11
                           PD12 PD13 PD14 PD15
                           PD0 */
  GPIO_InitStruct.Pin = GPIO_PIN_8|GPIO_PIN_9|GPIO_PIN_10|GPIO_PIN_11
                          |GPIO_PIN_12|GPIO_PIN_13|GPIO_PIN_14|GPIO_PIN_15
                          |GPIO_PIN_0;
  GPIO_InitStruct.Mode = GPIO_MODE_ANALOG;
  GPIO_InitStruct.Pull = GPIO_NOPULL;
  HAL_GPIO_Init(GPIOD, &GPIO_InitStruct);

  /*Configure GPIO pins : PA8 PA9 PA10 */
  GPIO_InitStruct.Pin = GPIO_PIN_8|GPIO_PIN_9|GPIO_PIN_10;
  GPIO_InitStruct.Mode = GPIO_MODE_OUTPUT_PP;
  GPIO_InitStruct.Pull = GPIO_NOPULL;
  GPIO_InitStruct.Speed = GPIO_SPEED_FREQ_LOW;
  HAL_GPIO_Init(GPIOA, &GPIO_InitStruct);

  /*Configure GPIO pin : PA15 */
  GPIO_InitStruct.Pin = GPIO_PIN_15;
  GPIO_InitStruct.Mode = GPIO_MODE_ANALOG;
  GPIO_InitStruct.Pull = GPIO_NOPULL;
  HAL_GPIO_Init(GPIOA, &GPIO_InitStruct);

  /*Configure GPIO pins : PD1 PD2 */
  GPIO_InitStruct.Pin = GPIO_PIN_1|GPIO_PIN_2;
  GPIO_InitStruct.Mode = GPIO_MODE_IT_RISING;
  GPIO_InitStruct.Pull = GPIO_PULLDOWN;
  HAL_GPIO_Init(GPIOD, &GPIO_InitStruct);

  /*Configure GPIO pins : PD3 PD4 PD5 PD6
                           PD7 */
  GPIO_InitStruct.Pin = GPIO_PIN_3|GPIO_PIN_4|GPIO_PIN_5|GPIO_PIN_6
                          |GPIO_PIN_7;
  GPIO_InitStruct.Mode = GPIO_MODE_OUTPUT_PP;
  GPIO_InitStruct.Pull = GPIO_NOPULL;
  GPIO_InitStruct.Speed = GPIO_SPEED_FREQ_LOW;
  HAL_GPIO_Init(GPIOD, &GPIO_InitStruct);

  /*Configure GPIO pins : PB4 PB5 */
  GPIO_InitStruct.Pin = GPIO_PIN_4|GPIO_PIN_5;
  GPIO_InitStruct.Mode = GPIO_MODE_OUTPUT_PP;
  GPIO_InitStruct.Pull = GPIO_NOPULL;
  GPIO_InitStruct.Speed = GPIO_SPEED_FREQ_LOW;
  HAL_GPIO_Init(GPIOB, &GPIO_InitStruct);

  /* EXTI interrupt init*/
  HAL_NVIC_SetPriority(EXTI0_IRQn, 1, 0);
  HAL_NVIC_EnableIRQ(EXTI0_IRQn);

  HAL_NVIC_SetPriority(EXTI1_IRQn, 1, 0);
  HAL_NVIC_EnableIRQ(EXTI1_IRQn);

  HAL_NVIC_SetPriority(EXTI2_TSC_IRQn, 1, 0);
  HAL_NVIC_EnableIRQ(EXTI2_TSC_IRQn);

}

void _Error_Handler(char *file, int line)
{
  while(1)
  {
  }
}

/************************ (C) COPYRIGHT STMicroelectronics *****END OF FILE****/
